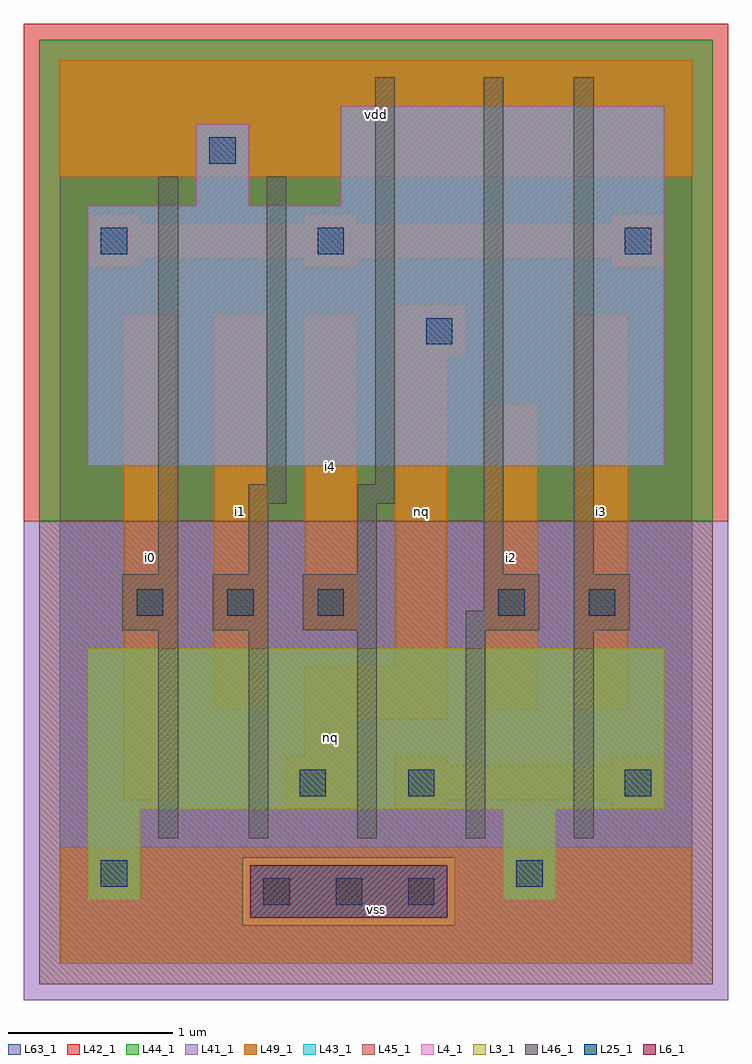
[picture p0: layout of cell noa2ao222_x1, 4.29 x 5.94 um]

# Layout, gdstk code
import gdstk
lib = gdstk.Library(unit=1e-6, precision=1e-09)
def R(c, l, rs):  # rectangles x0, y0, x1, y1
    for r in rs: c.add(gdstk.rectangle(r[:2], r[2:], *l))
def A(c, l, x, y, w, h, nx, ny, dx, dy):  # array of equal rectangles
    R(c, l, [(x+i*dx, y+j*dy, x+i*dx+w, y+j*dy+h) for i in range(nx) for j in range(ny)])
L3_1 = (3, 1)
L4_1 = (4, 1)
L6_1 = (6, 1)
L25_1 = (25, 1)
L41_1 = (41, 1)
L42_1 = (42, 1)
L43_1 = (43, 1)
L44_1 = (44, 1)
L45_1 = (45, 1)
L46_1 = (46, 1)
L49_1 = (49, 1)
L63_1 = (63, 1)

noa2ao222_x1 = lib.new_cell('noa2ao222_x1')
R(noa2ao222_x1, L3_1, [(0.17,0.39,0.49,0.94), (2.7,0.39,3.02,0.94), (0.17,0.94,3.68,1.92)])
R(noa2ao222_x1, L4_1, [(0.17,3.03,3.68,4.615), (0.83,4.615,1.15,5.11), (1.71,4.615,3.68,5.22)])
R(noa2ao222_x1, L6_1, [(1.16,0.28,2.36,0.6)])
A(noa2ao222_x1, L25_1, 1.24, 0.36, 0.16, 0.16, 3, 1, 0.44, 0)
A(noa2ao222_x1, L25_1, 0.47, 2.12, 0.16, 0.16, 3, 1, 0.55, 0)
R(noa2ao222_x1, L25_1, [(0.25,0.47,0.41,0.63), (2.78,0.47,2.94,0.63), (1.46,1.02,1.62,1.18), (2.12,1.02,2.28,1.18), (3.44,1.02,3.6,1.18), (2.67,2.12,2.83,2.28), (3.22,2.12,3.38,2.28), (2.23,3.77,2.39,3.93), (0.25,4.32,0.41,4.48), (1.57,4.32,1.73,4.48), (3.44,4.32,3.6,4.48), (0.91,4.87,1.07,5.03)])
R(noa2ao222_x1, L41_1, [(-0.22,-0.22,4.07,2.695)])
R(noa2ao222_x1, L42_1, [(-0.22,2.695,4.07,5.72)])
R(noa2ao222_x1, L43_1, [(1.16,0.28,2.36,0.6), (0.17,0.39,0.49,0.94), (2.7,0.39,3.02,0.94), (0.17,0.94,3.68,1.92), (0.17,3.03,3.68,4.615), (0.83,4.615,1.15,5.11), (1.71,4.615,3.68,5.22)])
R(noa2ao222_x1, L44_1, [(1.115,0.235,2.405,0.645), (-0.125,2.695,3.975,5.625)])
R(noa2ao222_x1, L45_1, [(-0.125,-0.125,3.975,0.235), (-0.125,0.235,1.115,0.645), (2.405,0.235,3.975,0.645), (-0.125,0.645,3.975,2.695)])
A(noa2ao222_x1, L46_1, 1.15, 0.765, 0.12, 1.265, 4, 1, 0.66, 0)
R(noa2ao222_x1, L46_1, [(0.6,0.765,0.72,2.03), (0.38,2.03,0.72,2.37), (0.93,2.03,1.27,2.37), (1.48,2.03,1.93,2.37), (2.47,2.03,2.92,2.15), (3.13,2.03,3.47,2.37), (2.58,2.15,2.92,2.37), (0.6,2.37,0.72,4.79), (1.15,2.37,1.27,2.8), (1.81,2.37,1.93,2.8), (2.58,2.37,2.7,5.395), (3.13,2.37,3.25,5.395), (1.15,2.8,1.38,2.92), (1.81,2.8,2.04,2.92), (1.26,2.92,1.38,4.79), (1.92,2.92,2.04,5.395)])
R(noa2ao222_x1, L49_1, [(0,0,3.85,0.71), (1.38,0.94,1.81,1.26), (2.04,0.94,2.36,0.995), (3.36,0.94,3.68,0.995), (0.39,0.995,0.71,3.955), (2.04,0.995,3.68,1.205), (2.04,1.205,2.36,1.26), (3.36,1.205,3.68,1.26), (1.49,1.26,1.81,1.49), (1.49,1.49,2.36,1.81), (0.94,1.545,1.26,3.955), (2.59,1.545,2.91,3.405), (3.14,1.545,3.46,3.955), (2.04,1.81,2.36,3.69), (1.49,2.04,1.81,3.955), (2.04,3.69,2.47,4.01), (0.17,4.24,0.49,4.295), (1.49,4.24,1.81,4.295), (3.36,4.24,3.68,4.295), (0.17,4.295,3.68,4.505), (0.17,4.505,0.49,4.56), (1.49,4.505,1.81,4.56), (3.36,4.505,3.68,4.56), (0,4.79,3.85,5.5)])
R(noa2ao222_x1, L63_1, [(0,0,3.85,5.5)])
noa2ao222_x1.add(gdstk.Label('i0', (0.55,2.475), layer=49, texttype=1))
noa2ao222_x1.add(gdstk.Label('i0', (0.55,2.475), layer=49, texttype=1))
noa2ao222_x1.add(gdstk.Label('nq', (1.65,1.375), layer=49, texttype=1))
noa2ao222_x1.add(gdstk.Label('nq', (1.65,1.375), layer=49, texttype=1))
noa2ao222_x1.add(gdstk.Label('i1', (1.1,2.75), layer=49, texttype=1))
noa2ao222_x1.add(gdstk.Label('i1', (1.1,2.75), layer=49, texttype=1))
noa2ao222_x1.add(gdstk.Label('i4', (1.65,3.025), layer=49, texttype=1))
noa2ao222_x1.add(gdstk.Label('i4', (1.65,3.025), layer=49, texttype=1))
noa2ao222_x1.add(gdstk.Label('vss', (1.925,0.33), layer=49, texttype=1))
noa2ao222_x1.add(gdstk.Label('vss', (1.925,0.33), layer=49, texttype=1))
noa2ao222_x1.add(gdstk.Label('i2', (2.75,2.475), layer=49, texttype=1))
noa2ao222_x1.add(gdstk.Label('i2', (2.75,2.475), layer=49, texttype=1))
noa2ao222_x1.add(gdstk.Label('nq', (2.2,2.75), layer=49, texttype=1))
noa2ao222_x1.add(gdstk.Label('nq', (2.2,2.75), layer=49, texttype=1))
noa2ao222_x1.add(gdstk.Label('vdd', (1.925,5.17), layer=49, texttype=1))
noa2ao222_x1.add(gdstk.Label('vdd', (1.925,5.17), layer=49, texttype=1))
noa2ao222_x1.add(gdstk.Label('i3', (3.3,2.75), layer=49, texttype=1))
noa2ao222_x1.add(gdstk.Label('i3', (3.3,2.75), layer=49, texttype=1))

lib.write_gds('noa2ao222_x1.gds')
